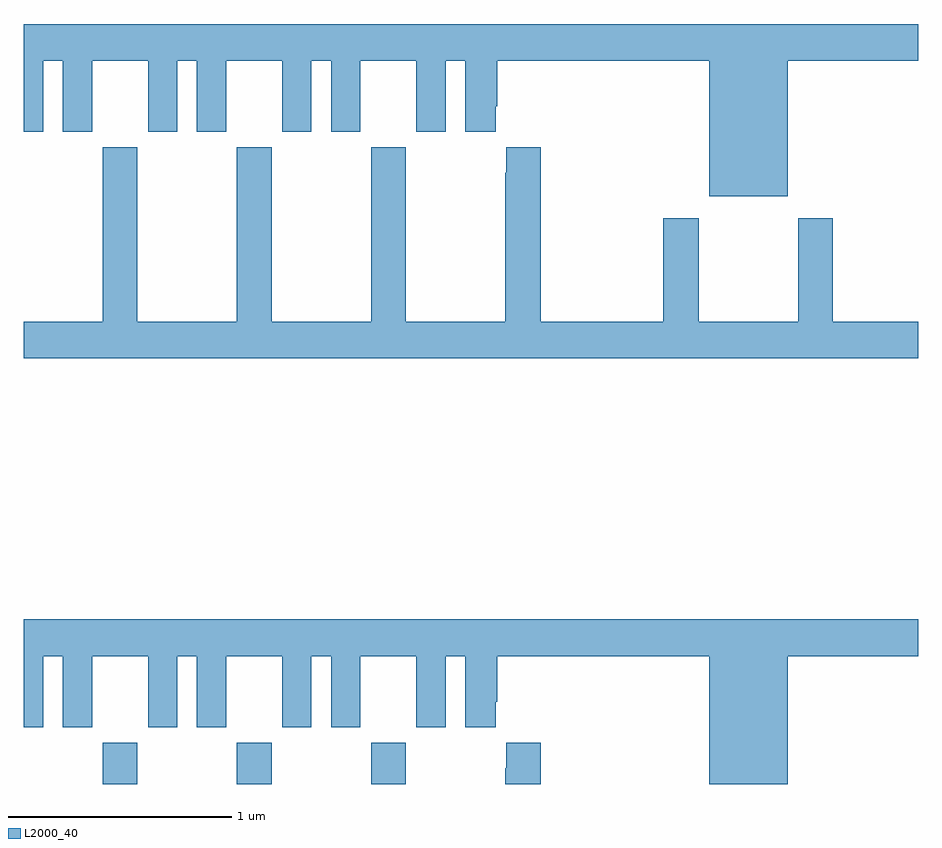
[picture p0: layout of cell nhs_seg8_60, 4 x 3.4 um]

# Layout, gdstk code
import gdstk
lib = gdstk.Library(unit=1e-6, precision=1e-09)
def R(c, l, rs):  # rectangles x0, y0, x1, y1
    for r in rs: c.add(gdstk.rectangle(r[:2], r[2:], *l))
def A(c, l, x, y, w, h, nx, ny, dx, dy):  # array of equal rectangles
    R(c, l, [(x+i*dx, y+j*dy, x+i*dx+w, y+j*dy+h) for i in range(nx) for j in range(ny)])
def P(c, l, *ps):  # polygons
    for p in ps: c.add(gdstk.Polygon(p, *l))
L2000_40 = (2000, 40)

nhs_seg8_60 = lib.new_cell('nhs_seg8_60')
A(nhs_seg8_60, L2000_40, 113.353, 1143.9, 0.155, 0.184, 3, 1, 0.6, 0)
P(nhs_seg8_60, L2000_40, [(116.416,1147.136),(117,1147.136),(117,1147.3),(113,1147.3),(113,1146.819),(113.086,1146.819),(113.086,1147.136),(113.174,1147.136),(113.174,1146.819),(113.305,1146.819),(113.305,1147.136),(113.555,1147.136),(113.555,1146.819),(113.686,1146.819),(113.686,1147.136),(113.774,1147.136),(113.774,1146.819),(113.905,1146.819),(113.905,1147.136),(114.155,1147.136),(114.155,1146.819),(114.286,1146.819),(114.286,1147.136),(114.374,1147.136),(114.374,1146.819),(114.505,1146.819),(114.505,1147.136),(114.755,1147.136),(114.755,1146.819),(114.886,1146.819),(114.886,1147.136),(114.974,1147.136),(114.974,1146.819),(115.111,1146.819),(115.111,1146.931),(115.118,1146.931),(115.118,1147.136),(116.066,1147.136),(116.066,1146.53),(116.416,1146.53)],
  [(117,1145.968),(116.619,1145.968),(116.619,1146.43),(116.464,1146.43),(116.464,1145.968),(116.019,1145.968),(116.019,1146.43),(115.859,1146.43),(115.859,1145.968),(115.313,1145.968),(115.313,1146.748),(115.157,1146.748),(115.157,1146.635),(115.153,1146.635),(115.153,1145.968),(114.708,1145.968),(114.708,1146.748),(114.553,1146.748),(114.553,1145.968),(114.108,1145.968),(114.108,1146.748),(113.953,1146.748),(113.953,1145.968),(113.508,1145.968),(113.508,1146.748),(113.353,1146.748),(113.353,1145.968),(113,1145.968),(113,1145.804),(117,1145.804)],
  [(116.416,1144.472),(117,1144.472),(117,1144.636),(113,1144.636),(113,1144.155),(113.086,1144.155),(113.086,1144.472),(113.174,1144.472),(113.174,1144.155),(113.305,1144.155),(113.305,1144.472),(113.555,1144.472),(113.555,1144.155),(113.686,1144.155),(113.686,1144.472),(113.774,1144.472),(113.774,1144.155),(113.905,1144.155),(113.905,1144.472),(114.155,1144.472),(114.155,1144.155),(114.286,1144.155),(114.286,1144.472),(114.374,1144.472),(114.374,1144.155),(114.505,1144.155),(114.505,1144.472),(114.755,1144.472),(114.755,1144.155),(114.886,1144.155),(114.886,1144.472),(114.974,1144.472),(114.974,1144.155),(115.111,1144.155),(115.111,1144.267),(115.118,1144.267),(115.118,1144.472),(116.066,1144.472),(116.066,1143.9),(116.416,1143.9)],
  [(115.313,1144.084),(115.157,1144.084),(115.157,1143.971),(115.153,1143.971),(115.153,1143.9),(115.313,1143.9)])

lib.write_gds('nhs_seg8_60.gds')
